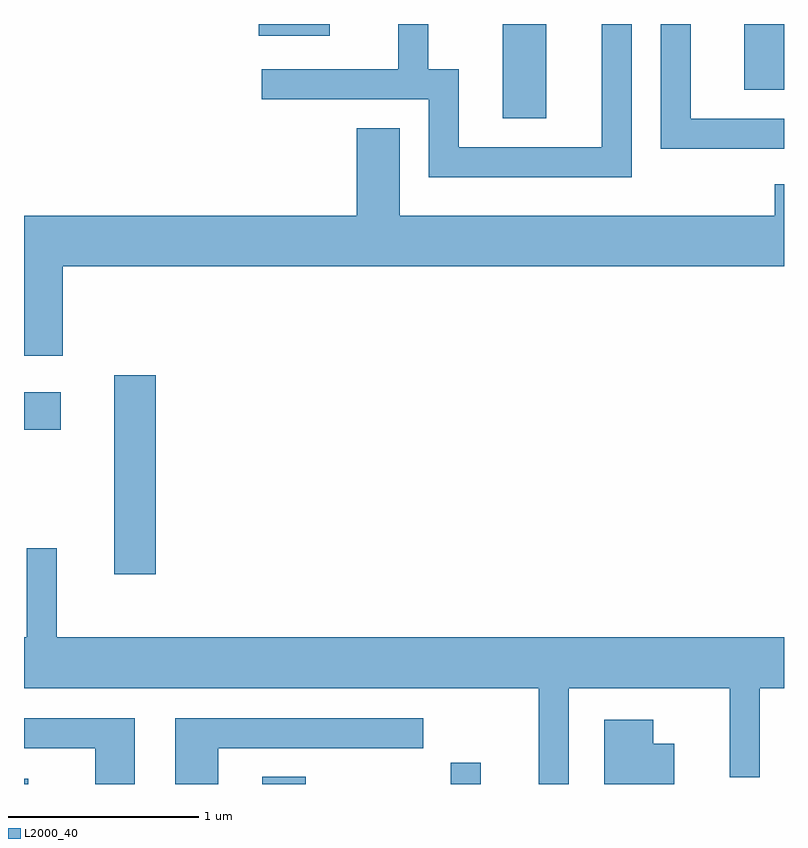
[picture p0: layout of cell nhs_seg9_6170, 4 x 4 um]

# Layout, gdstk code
import gdstk
lib = gdstk.Library(unit=1e-6, precision=1e-09)
def R(c, l, rs):  # rectangles x0, y0, x1, y1
    for r in rs: c.add(gdstk.rectangle(r[:2], r[2:], *l))
def P(c, l, *ps):  # polygons
    for p in ps: c.add(gdstk.Polygon(p, *l))
L2000_40 = (2000, 40)

nhs_seg9_6170 = lib.new_cell('nhs_seg9_6170')
R(nhs_seg9_6170, L2000_40, [(367.611,1982.432,367.633,1982.459), (368.866,1982.432,369.094,1982.469), (369.856,1982.432,370.014,1982.543), (368.086,1983.536,368.304,1984.584), (367.611,1984.296,367.804,1984.494), (370.131,1985.936,370.359,1986.432), (371.401,1986.086,371.611,1986.432), (368.846,1986.371,369.219,1986.432)])
P(nhs_seg9_6170, L2000_40, [(370.809,1986.432),(370.651,1986.432),(370.651,1985.784),(369.899,1985.784),(369.899,1986.194),(369.739,1986.194),(369.739,1986.432),(369.581,1986.432),(369.581,1986.194),(368.863,1986.194),(368.863,1986.036),(369.741,1986.036),(369.741,1985.626),(370.809,1985.626)],
  [(371.611,1985.934),(371.119,1985.934),(371.119,1986.432),(370.961,1986.432),(370.961,1985.776),(371.611,1985.776)],
  [(367.814,1985.156),(371.611,1985.156),(371.611,1985.589),(371.561,1985.589),(371.561,1985.424),(369.589,1985.424),(369.589,1985.884),(369.361,1985.884),(369.361,1985.424),(367.611,1985.424),(367.611,1984.686),(367.814,1984.686)],
  [(367.784,1983.673),(367.626,1983.673),(367.626,1983.204),(367.611,1983.204),(367.611,1982.936),(370.321,1982.936),(370.321,1982.432),(370.479,1982.432),(370.479,1982.936),(371.326,1982.936),(371.326,1982.468),(371.484,1982.468),(371.484,1982.936),(371.611,1982.936),(371.611,1983.204),(367.784,1983.204)],
  [(368.194,1982.779),(367.611,1982.779),(367.611,1982.621),(367.986,1982.621),(367.986,1982.432),(368.194,1982.432)],
  [(368.634,1982.621),(369.713,1982.621),(369.713,1982.779),(368.406,1982.779),(368.406,1982.432),(368.634,1982.432)],
  [(371.034,1982.644),(370.924,1982.644),(370.924,1982.769),(370.666,1982.769),(370.666,1982.432),(371.034,1982.432)])

lib.write_gds('nhs_seg9_6170.gds')
